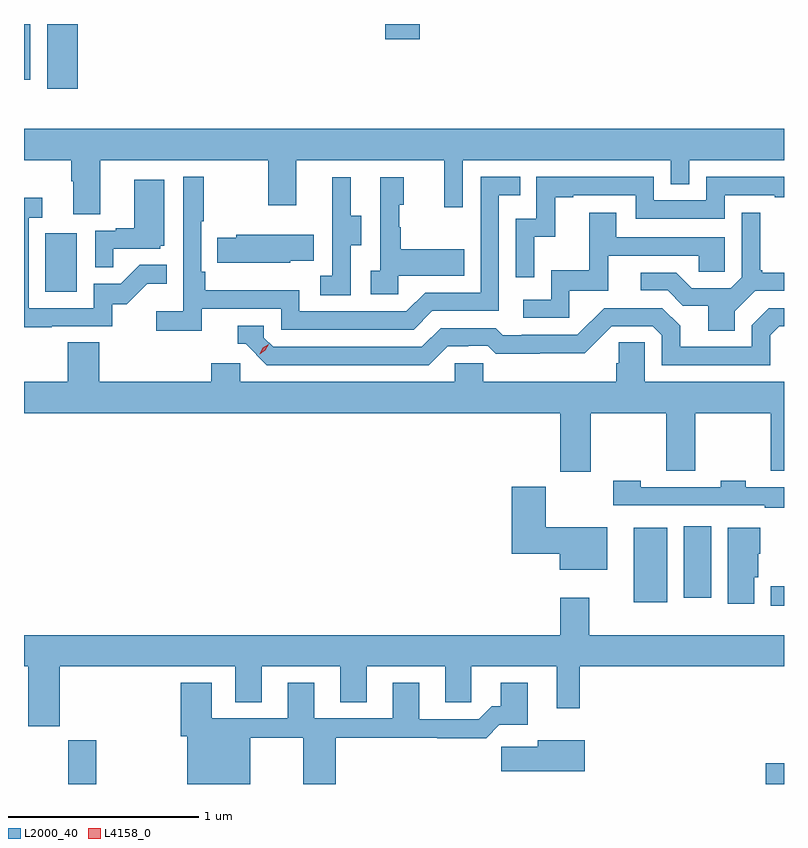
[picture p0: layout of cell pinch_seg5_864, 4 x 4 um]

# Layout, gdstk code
import gdstk
lib = gdstk.Library(unit=1e-6, precision=1e-09)
def R(c, l, rs):  # rectangles x0, y0, x1, y1
    for r in rs: c.add(gdstk.rectangle(r[:2], r[2:], *l))
def P(c, l, *ps):  # polygons
    for p in ps: c.add(gdstk.Polygon(p, *l))
L2000_40 = (2000, 40)
L4158_0 = (4158, 0)

pinch_seg5_864 = lib.new_cell('pinch_seg5_864')
R(pinch_seg5_864, L2000_40, [(839.21,874.788,839.358,875.019), (842.88,874.788,842.977,874.898), (842.907,875.726,842.977,875.828), (842.186,875.744,842.362,876.136), (842.45,875.769,842.593,876.145), (839.09,877.38,839.254,877.687), (839.099,878.448,839.26,878.788), (838.977,878.494,839.01,878.788), (840.878,878.709,841.061,878.788)])
P(pinch_seg5_864, L2000_40, [(839.377,878.072),(840.262,878.072),(840.262,877.833),(840.409,877.833),(840.409,878.072),(841.19,878.072),(841.19,877.824),(841.287,877.824),(841.287,878.072),(842.382,878.072),(842.382,877.945),(842.478,877.945),(842.478,878.072),(842.977,878.072),(842.977,878.236),(838.977,878.236),(838.977,878.072),(839.225,878.072),(839.225,877.96),(839.237,877.96),(839.237,877.786),(839.377,877.786)],
  [(839.912,877.29),(840.33,877.29),(840.33,877.179),(841.027,877.179),(841.126,877.278),(841.476,877.278),(841.476,877.887),(841.589,877.887),(841.589,877.983),(841.38,877.983),(841.38,877.374),(841.089,877.374),(840.99,877.275),(840.426,877.275),(840.426,877.387),(839.93,877.387),(839.93,877.483),(839.91,877.483),(839.91,877.75),(839.923,877.75),(839.923,877.984),(839.814,877.984),(839.814,877.276),(839.673,877.276),(839.673,877.174),(839.912,877.174)],
  [(841.662,877.667),(841.772,877.667),(841.772,877.875),(841.867,877.875),(841.867,877.887),(842.196,877.887),(842.196,877.764),(842.664,877.764),(842.664,877.887),(842.927,877.887),(842.927,877.875),(842.977,877.875),(842.977,877.983),(842.568,877.983),(842.568,877.86),(842.292,877.86),(842.292,877.983),(841.674,877.983),(841.674,877.764),(841.566,877.764),(841.566,877.455),(841.662,877.455)],
  [(840.948,877.463),(841.295,877.463),(841.295,877.603),(840.961,877.603),(840.961,877.718),(840.951,877.718),(840.951,877.836),(840.976,877.836),(840.976,877.981),(840.852,877.981),(840.852,877.49),(840.801,877.49),(840.801,877.365),(840.948,877.365)],
  [(840.696,877.624),(840.751,877.624),(840.751,877.779),(840.697,877.779),(840.697,877.981),(840.599,877.981),(840.599,877.767),(840.6,877.767),(840.6,877.463),(840.537,877.463),(840.537,877.36),(840.696,877.36)],
  [(839.447,877.605),(839.694,877.605),(839.694,877.62),(839.716,877.62),(839.716,877.969),(839.558,877.969),(839.558,877.714),(839.459,877.714),(839.459,877.701),(839.352,877.701),(839.352,877.507),(839.447,877.507)],
  [(839.123,877.197),(839.442,877.197),(839.442,877.314),(839.518,877.314),(839.625,877.421),(839.729,877.421),(839.729,877.52),(839.585,877.52),(839.487,877.422),(839.343,877.422),(839.343,877.293),(839.001,877.293),(839.001,877.767),(839.074,877.767),(839.074,877.873),(838.977,877.873),(838.977,877.192),(839.123,877.192)],
  [(841.848,877.383),(842.053,877.383),(842.053,877.569),(842.527,877.569),(842.527,877.485),(842.664,877.485),(842.664,877.665),(842.095,877.665),(842.095,877.795),(841.951,877.795),(841.951,877.492),(841.752,877.492),(841.752,877.338),(841.605,877.338),(841.605,877.242),(841.848,877.242)],
  [(842.719,877.276),(842.826,877.383),(842.977,877.383),(842.977,877.48),(842.863,877.48),(842.863,877.492),(842.851,877.492),(842.851,877.795),(842.754,877.795),(842.754,877.455),(842.697,877.398),(842.491,877.398),(842.41,877.479),(842.223,877.479),(842.223,877.386),(842.364,877.386),(842.444,877.306),(842.579,877.306),(842.579,877.174),(842.719,877.174)],
  [(840.378,877.541),(840.503,877.541),(840.503,877.678),(840.093,877.678),(840.093,877.662),(839.995,877.662),(839.995,877.532),(840.378,877.532)],
  [(841.207,877.092),(841.314,877.092),(841.314,877.095),(841.417,877.095),(841.459,877.053),(841.692,877.053),(841.692,877.055),(841.928,877.055),(842.07,877.197),(842.286,877.197),(842.334,877.149),(842.334,876.993),(842.904,876.993),(842.904,877.149),(842.952,877.197),(842.977,877.197),(842.977,877.293),(842.898,877.293),(842.808,877.203),(842.808,877.089),(842.431,877.089),(842.431,877.199),(842.337,877.293),(842.031,877.293),(841.89,877.152),(841.597,877.152),(841.597,877.149),(841.498,877.149),(841.459,877.188),(841.17,877.188),(841.071,877.089),(840.288,877.089),(840.24,877.137),(840.24,877.2),(840.101,877.2),(840.101,877.104),(840.144,877.104),(840.255,876.993),(841.108,876.993)],
  [(841.959,876.74),(842.356,876.74),(842.356,876.436),(842.51,876.436),(842.51,876.74),(842.908,876.74),(842.908,876.436),(842.977,876.436),(842.977,876.904),(842.244,876.904),(842.244,877.112),(842.107,877.112),(842.107,877.002),(842.093,877.002),(842.093,876.904),(841.395,876.904),(841.395,877.002),(841.245,877.002),(841.245,876.904),(840.114,876.904),(840.114,877.002),(839.963,877.002),(839.963,876.904),(839.372,876.904),(839.372,877.112),(839.207,877.112),(839.207,876.904),(838.977,876.904),(838.977,876.74),(841.799,876.74),(841.799,876.432),(841.959,876.432)],
  [(842.977,876.351),(842.775,876.351),(842.775,876.384),(842.643,876.384),(842.643,876.351),(842.223,876.351),(842.223,876.384),(842.079,876.384),(842.079,876.255),(842.875,876.255),(842.875,876.243),(842.977,876.243)],
  [(842.047,876.139),(841.722,876.139),(841.722,876.352),(841.544,876.352),(841.544,875.999),(841.796,875.999),(841.796,875.915),(842.047,875.915)],
  [(842.821,875.877),(842.842,875.877),(842.842,876),(842.851,876),(842.851,876.136),(842.681,876.136),(842.681,875.736),(842.821,875.736)],
  [(839.164,875.408),(840.089,875.408),(840.089,875.218),(840.229,875.218),(840.229,875.408),(840.641,875.408),(840.641,875.218),(840.781,875.218),(840.781,875.408),(841.193,875.408),(841.193,875.218),(841.332,875.218),(841.332,875.408),(841.781,875.408),(841.781,875.187),(841.903,875.187),(841.903,875.408),(842.977,875.408),(842.977,875.572),(841.951,875.572),(841.951,875.767),(841.799,875.767),(841.799,875.572),(838.977,875.572),(838.977,875.408),(839,875.408),(839,875.091),(839.164,875.091)],
  [(840.169,875.032),(840.446,875.032),(840.446,874.788),(840.617,874.788),(840.617,875.032),(841.153,875.032),(841.153,875.03),(841.409,875.03),(841.478,875.099),(841.627,875.099),(841.627,875.32),(841.487,875.32),(841.487,875.197),(841.438,875.197),(841.371,875.13),(841.057,875.13),(841.057,875.32),(840.917,875.32),(840.917,875.133),(840.505,875.133),(840.505,875.32),(840.365,875.32),(840.365,875.133),(839.965,875.133),(839.965,875.32),(839.801,875.32),(839.801,875.04),(839.837,875.04),(839.837,874.788),(840.169,874.788)],
  [(841.927,875.017),(841.682,875.017),(841.682,874.985),(841.488,874.985),(841.488,874.856),(841.927,874.856)])
P(pinch_seg5_864, L4158_0, [(840.217,877.051),(840.217,877.051),(840.233,877.084),(840.264,877.103),(840.264,877.103),(840.264,877.103),(840.248,877.07),(840.217,877.051)])

lib.write_gds('pinch_seg5_864.gds')
